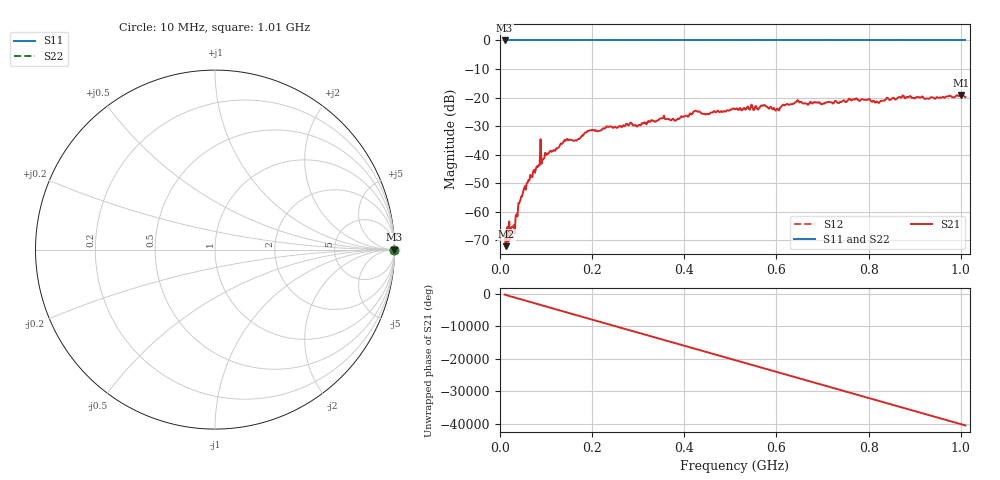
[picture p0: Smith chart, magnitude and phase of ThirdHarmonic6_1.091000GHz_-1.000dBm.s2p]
! 8/16/2025 10:09:02 AM
! C:\ANRITSUVNA\TEMP\TEMP.S2P
! CHANNEL.1
! TR.MEASUREMENT
! RAW.DATA
! RF.CORRECTION.OFF
! AVERAGING.OFF
! IF.BANDWIDTH: 5KHZ
! SWEEPTYPE:  FREQ.SWEEP(Linear)
! Reference Plane Port Info
! PORT:  PORT1  PORT2
! DISTANCE:  0  m  0  m
! TIME:  0  s  0  s
! PHASE.OFFSET:  0  deg.  0  deg.
! LOSS:  0  dB  0  dB
! REF.LOSS:  0  dB  0  dB
! REF.FREQ:  0  Hz  0  Hz
! Power Info
! POWER:  -20  dBm  -20  dBm
! EFF.POWER:  -20  dBm  -20  dBm
! SOURCE.ATTEN:  0  dB  0  dB
! TEST.ATTEN:  0  dB  0  dB
# GHZ S RI R 50.0
! FREQ.GHZ  S11RE  S11IM  S21RE  S21IM  S12RE  S12IM  S22RE  S22IM
!; PortSelection: Port_12
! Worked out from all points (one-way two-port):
!   501 points, 10 MHz to 1.01 GHz, reference 50 ohm
!   highest |S21| = -19.08 dB at 1 GHz (marker M1); lowest = -72.1 dB at 14 MHz (marker M2)
!   lowest |S11| = 0.0 dB at 10 MHz (marker M3)
!   |S11| at or under -10 dB: nowhere
!   |S22| runs from 0.0 to 0.0 dB; largest |S21 - S12| = 1.1
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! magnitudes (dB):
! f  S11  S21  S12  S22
! 10 MHz  0.0  -67.3  0.0  0.0
! 14 MHz  0.0  -72.1  0.0  0.0
! 34 MHz  0.0  -61.6  0.0  0.0
! 38 MHz  0.0  -61.7  0.0  0.0
! 50 MHz  0.0  -53.1  0.0  0.0
! 82 MHz  0.0  -44.3  0.0  0.0
! 84 MHz  0.0  -43.8  0.0  0.0
! 142 MHz  0.0  -35.2  0.0  0.0
! 178 MHz  0.0  -33.3  0.0  0.0
! 196 MHz  0.0  -31.6  0.0  0.0
! 344 MHz  0.0  -27.9  0.0  0.0
! 382 MHz  0.0  -28.0  0.0  0.0
! 424 MHz  0.0  -24.6  0.0  0.0
! 450 MHz  0.0  -25.7  0.0  0.0
! 510 MHz  0.0  -24.1  0.0  0.0
! 570 MHz  0.0  -22.9  0.0  0.0
! 602 MHz  0.0  -23.8  0.0  0.0
! 644 MHz  0.0  -21.3  0.0  0.0
! 678 MHz  0.0  -22.1  0.0  0.0
! 844 MHz  0.0  -20.7  0.0  0.0
! 1 GHz  0.0  -19.1  0.0  0.0
! 1.01 GHz  0.0  -19.8  0.0  0.0
